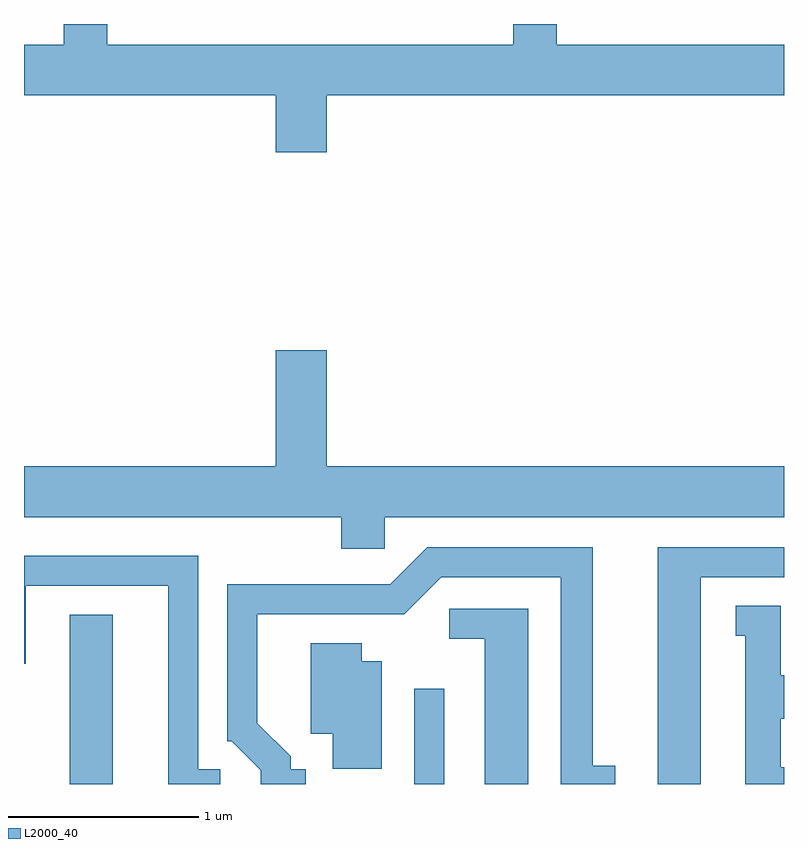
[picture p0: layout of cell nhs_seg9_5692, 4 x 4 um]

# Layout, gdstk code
import gdstk
lib = gdstk.Library(unit=1e-6, precision=1e-09)
def R(c, l, rs):  # rectangles x0, y0, x1, y1
    for r in rs: c.add(gdstk.rectangle(r[:2], r[2:], *l))
def P(c, l, *ps):  # polygons
    for p in ps: c.add(gdstk.Polygon(p, *l))
L2000_40 = (2000, 40)

nhs_seg9_5692 = lib.new_cell('nhs_seg9_5692')
R(nhs_seg9_5692, L2000_40, [(353.851,1970.432,354.079,1971.324), (355.666,1970.432,355.824,1970.933)])
P(nhs_seg9_5692, L2000_40, [(355.204,1974.056),(357.611,1974.056),(357.611,1974.324),(356.414,1974.324),(356.414,1974.432),(356.186,1974.432),(356.186,1974.324),(354.049,1974.324),(354.049,1974.432),(353.821,1974.432),(353.821,1974.324),(353.611,1974.324),(353.611,1974.056),(354.936,1974.056),(354.936,1973.756),(355.204,1973.756)],
  [(355.509,1971.836),(357.611,1971.836),(357.611,1972.104),(355.204,1972.104),(355.204,1972.714),(354.936,1972.714),(354.936,1972.104),(353.611,1972.104),(353.611,1971.836),(355.281,1971.836),(355.281,1971.671),(355.509,1971.671)],
  [(355.093,1970.509),(355.014,1970.509),(355.014,1970.577),(354.839,1970.752),(354.839,1971.326),(355.612,1971.326),(355.807,1971.521),(356.436,1971.521),(356.436,1970.432),(356.723,1970.432),(356.723,1970.529),(356.604,1970.529),(356.604,1971.679),(355.734,1971.679),(355.539,1971.484),(354.681,1971.484),(354.681,1970.656),(354.704,1970.656),(354.856,1970.504),(354.856,1970.432),(355.093,1970.432)],
  [(357.174,1971.521),(357.611,1971.521),(357.611,1971.679),(356.946,1971.679),(356.946,1970.432),(357.174,1970.432)],
  [(354.643,1970.509),(354.529,1970.509),(354.529,1971.634),(353.611,1971.634),(353.611,1971.066),(353.619,1971.066),(353.619,1971.476),(354.371,1971.476),(354.371,1970.432),(354.643,1970.432)],
  [(357.611,1970.519),(357.594,1970.519),(357.594,1970.776),(357.611,1970.776),(357.611,1971.004),(357.594,1971.004),(357.594,1971.369),(357.358,1971.369),(357.358,1971.211),(357.406,1971.211),(357.406,1970.432),(357.611,1970.432)],
  [(356.264,1971.354),(355.848,1971.354),(355.848,1971.196),(356.036,1971.196),(356.036,1970.432),(356.264,1970.432)],
  [(355.494,1971.079),(355.389,1971.079),(355.389,1971.174),(355.121,1971.174),(355.121,1970.696),(355.236,1970.696),(355.236,1970.511),(355.494,1970.511)])

lib.write_gds('nhs_seg9_5692.gds')
